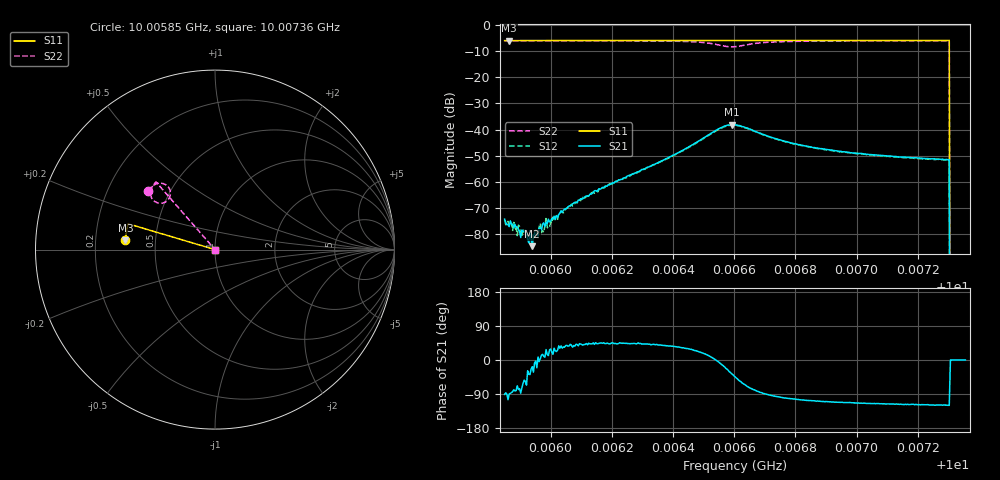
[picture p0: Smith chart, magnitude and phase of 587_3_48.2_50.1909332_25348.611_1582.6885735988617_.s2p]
#  HZ  S  RI  R  50.00
! Rohde & Schwarz Vector Network Analyzer
! Rohde-Schwarz,ZNB20-2Port,1311601062101988,3.16
! Created: UTC 3/20/2024, 12:02:21 PM
! freq[Hz]  re:S11  im:S11  re:S21  im:S21  re:S12  im:S12  re:S22  im:S22
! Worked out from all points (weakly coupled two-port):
!   401 points, 10.00585 GHz to 10.00736 GHz, reference 50 ohm
!   highest |S21| = -38.05 dB at 10.00659 GHz (marker M1); lowest = -84.5 dB at 10.00594 GHz (marker M2)
!   lowest |S11| = -6.0 dB at 10.00587 GHz (marker M3), VSWR 3.02, Z = 16.6 + j2.32 ohm
!   |S11| at or under -10 dB: 10.0073 GHz to end of sweep
!   |S22| runs from - to -6.0 dB; largest |S21 - S12| = 0.00089
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1.000585e10  -0.4995 0.0513  -2.37e-06 -0.000195  1.31e-05 -0.000188  -0.3753 0.3269
1.0005865e10  -0.4992 0.0523  1.86e-06 -0.000141  -1.82e-05 -0.000149  -0.3746 0.328
1.0005884e10  -0.4995 0.0536  2.21e-05 -0.000154  3.13e-05 -0.00012  -0.3735 0.329
1.0005903e10  -0.4992 0.0549  3.77e-06 -8.73e-05  4.22e-05 -8.48e-05  -0.3726 0.3303
1.000594e10  -0.499 0.0574  5.68e-05 -1.81e-05  8.15e-05 -5.56e-05  -0.3706 0.3328
1.0005952e10  -0.499 0.0581  9.8e-05 -4.84e-06  0.000106 -5.92e-05  -0.3699 0.3333
1.0005959e10  -0.499 0.0585  9.03e-05 1.25e-05  8.61e-05 7.83e-06  -0.3694 0.3337
1.000597e10  -0.4989 0.0593  0.000117 2.65e-05  0.000106 -1.84e-05  -0.369 0.3346
1.0005997e10  -0.4986 0.0609  0.000155 7.74e-05  0.000116 7.41e-05  -0.3674 0.3363
1.0006034e10  -0.4985 0.0634  0.000225 0.00017  0.000221 0.00016  -0.365 0.3387
1.0006102e10  -0.498 0.068  0.000353 0.000304  0.000349 0.000328  -0.3605 0.3436
1.0006354e10  -0.496 0.0843  0.00186 0.00155  0.00172 0.00161  -0.3333 0.3637
1.0006505e10  -0.4941 0.0942  0.00695 0.00199  0.00665 0.00226  -0.2777 0.3634
1.0006561e10  -0.4928 0.0973  0.0109 -0.00254  0.0108 -0.00184  -0.2481 0.315
1.0006591e10  -0.4926 0.0987  0.0101 -0.00737  0.0103 -0.00649  -0.2649 0.2737
1.0006603e10  -0.4925 0.0992  0.00878 -0.00863  0.00916 -0.00805  -0.279 0.2639
1.0006686e10  -0.4924 0.1042  0.000668 -0.00855  0.00107 -0.00832  -0.3526 0.2869
1.0006855e10  -0.4905 0.1154  -0.00137 -0.00438  -0.00116 -0.00439  -0.3554 0.3382
1.0007107e10  -0.4872 0.1315  -0.00136 -0.00281  -0.00118 -0.00281  -0.3398 0.3644
1.0007295e10  -0.4843 0.1433  -0.00132 -0.00235  -0.00116 -0.00238  -0.3291 0.3768
1.0007314e10  0 0  0 0  0 0  0 0
1.0007355e10  0 0  0 0  0 0  0 0
